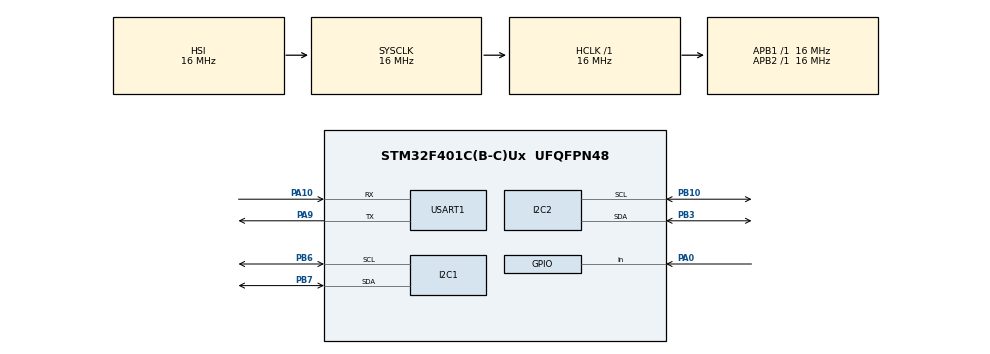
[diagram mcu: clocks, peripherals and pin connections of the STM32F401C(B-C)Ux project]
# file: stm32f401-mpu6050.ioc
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Mcu.Family=STM32F4
Mcu.Name=STM32F401C(B-C)Ux
Mcu.Package=UFQFPN48
NVIC.PriorityGroup=NVIC_PRIORITYGROUP_4
PA0-WKUP.GPIO_PuPd=GPIO_PULLUP
PA0-WKUP.Signal=GPIO_Input
PA10.Mode=Asynchronous
PA10.Signal=USART1_RX
PA9.Mode=Asynchronous
PA9.Signal=USART1_TX
PB10.Mode=I2C
PB10.Signal=I2C2_SCL
PB3.Mode=I2C
PB3.Signal=I2C2_SDA
PB6.Mode=I2C
PB6.Signal=I2C1_SCL
PB7.Mode=I2C
PB7.Signal=I2C1_SDA
ProjectManager.HeapSize=0x200
ProjectManager.StackSize=0x400
ProjectManager.TargetToolchain=CMake
RCC.AHBFreq_Value=16000000
RCC.APB1Freq_Value=16000000
RCC.APB2Freq_Value=16000000
RCC.CortexFreq_Value=16000000
RCC.HSE_VALUE=25000000
RCC.HSI_VALUE=16000000
RCC.LSE_VALUE=32768
RCC.SYSCLKFreq_VALUE=16000000
RCC.VCOOutputFreq_Value=192000000
USART1.VirtualMode=VM_ASYNC
board=custom

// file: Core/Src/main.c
/* USER CODE BEGIN Header */
/**
  ******************************************************************************
  * @file           : main.c
  * @brief          : Main program body
  ******************************************************************************
  * @attention
  *
  * Copyright (c) 2026 STMicroelectronics.
  * All rights reserved.
  *
  * This software is licensed under terms that can be found in the LICENSE file
  * in the root directory of this software component.
  * If no LICENSE file comes with this software, it is provided AS-IS.
  *
  ******************************************************************************
  */
/* USER CODE END Header */
#include "main.h"

/* USER CODE BEGIN Includes */
#include "ssd1306/ssd1306.h"
#include "ssd1306/ssd1306_fonts.h"
#include "ssd1306/ssd1306_conf.h"
/* USER CODE END Includes */

/* USER CODE BEGIN PD */
GPIO_PinState Curr_State = GPIO_PIN_RESET;
GPIO_PinState Prev_State = GPIO_PIN_RESET;

void button_debouncing()
{
	Curr_State = HAL_GPIO_ReadPin(GPIOA, GPIO_PIN_0);
	if (Curr_State == GPIO_PIN_RESET && Prev_State == GPIO_PIN_SET)
	{
		HAL_Delay(15);
		Curr_State = HAL_GPIO_ReadPin(GPIOA, GPIO_PIN_0);
	}
	Prev_State = Curr_State;
}
/* USER CODE END PD */

I2C_HandleTypeDef hi2c1;
I2C_HandleTypeDef hi2c2;

UART_HandleTypeDef huart1;

void SystemClock_Config(void);
static void MX_GPIO_Init(void);
static void MX_I2C1_Init(void);
static void MX_I2C2_Init(void);
static void MX_USART1_UART_Init(void);

int main(void)
{

  /* MCU Configuration--------------------------------------------------------*/

  /* Reset of all peripherals, Initializes the Flash interface and the Systick. */
  HAL_Init();

  /* Configure the system clock */
  SystemClock_Config();

  /* Initialize all configured peripherals */
  MX_GPIO_Init();
  MX_I2C1_Init();
  MX_I2C2_Init();
  MX_USART1_UART_Init();
  /* USER CODE BEGIN 2 */
  //Init OLED display
  ssd1306_Init();

  ssd1306_Fill(Black);
  ssd1306_UpdateScreen();
  /* USER CODE END 2 */

  /* Infinite loop */
  while (1)
  {

    /* USER CODE BEGIN 3 */
	button_debouncing();
	if (HAL_GPIO_ReadPin(GPIOA, GPIO_PIN_0)==GPIO_PIN_RESET)
		{
			ssd1306_Fill(Black);
			ssd1306_SetCursor(0, 0);
			ssd1306_WriteString("Hello", Font_7x10, White);
			ssd1306_UpdateScreen();
		}
	button_debouncing();
	if (HAL_GPIO_ReadPin(GPIOA, GPIO_PIN_0)==GPIO_PIN_RESET)
		{
			ssd1306_Fill(Black);
			ssd1306_UpdateScreen();
			ssd1306_SetCursor(0, 0);
			ssd1306_WriteString("ok bye", Font_7x10, White);
			ssd1306_UpdateScreen();
		}
  }
  /* USER CODE END 3 */
}

void SystemClock_Config(void)
{
  RCC_OscInitTypeDef RCC_OscInitStruct = {0};
  RCC_ClkInitTypeDef RCC_ClkInitStruct = {0};

  /** Configure the main internal regulator output voltage
  */
  __HAL_RCC_PWR_CLK_ENABLE();
  __HAL_PWR_VOLTAGESCALING_CONFIG(PWR_REGULATOR_VOLTAGE_SCALE2);

  /** Initializes the RCC Oscillators according to the specified parameters
  * in the RCC_OscInitTypeDef structure.
  */
  RCC_OscInitStruct.OscillatorType = RCC_OSCILLATORTYPE_HSI;
  RCC_OscInitStruct.HSIState = RCC_HSI_ON;
  RCC_OscInitStruct.HSICalibrationValue = RCC_HSICALIBRATION_DEFAULT;
  RCC_OscInitStruct.PLL.PLLState = RCC_PLL_NONE;
  if (HAL_RCC_OscConfig(&RCC_OscInitStruct) != HAL_OK)
  {
    Error_Handler();
  }

  /** Initializes the CPU, AHB and APB buses clocks
  */
  RCC_ClkInitStruct.ClockType = RCC_CLOCKTYPE_HCLK|RCC_CLOCKTYPE_SYSCLK
                              |RCC_CLOCKTYPE_PCLK1|RCC_CLOCKTYPE_PCLK2;
  RCC_ClkInitStruct.SYSCLKSource = RCC_SYSCLKSOURCE_HSI;
  RCC_ClkInitStruct.AHBCLKDivider = RCC_SYSCLK_DIV1;
  RCC_ClkInitStruct.APB1CLKDivider = RCC_HCLK_DIV1;
  RCC_ClkInitStruct.APB2CLKDivider = RCC_HCLK_DIV1;

  if (HAL_RCC_ClockConfig(&RCC_ClkInitStruct, FLASH_LATENCY_0) != HAL_OK)
  {
    Error_Handler();
  }
}

static void MX_I2C1_Init(void)
{

  hi2c1.Instance = I2C1;
  hi2c1.Init.ClockSpeed = 100000;
  hi2c1.Init.DutyCycle = I2C_DUTYCYCLE_2;
  hi2c1.Init.OwnAddress1 = 0;
  hi2c1.Init.AddressingMode = I2C_ADDRESSINGMODE_7BIT;
  hi2c1.Init.DualAddressMode = I2C_DUALADDRESS_DISABLE;
  hi2c1.Init.OwnAddress2 = 0;
  hi2c1.Init.GeneralCallMode = I2C_GENERALCALL_DISABLE;
  hi2c1.Init.NoStretchMode = I2C_NOSTRETCH_DISABLE;
  if (HAL_I2C_Init(&hi2c1) != HAL_OK)
  {
    Error_Handler();
  }

}

static void MX_I2C2_Init(void)
{

  hi2c2.Instance = I2C2;
  hi2c2.Init.ClockSpeed = 100000;
  hi2c2.Init.DutyCycle = I2C_DUTYCYCLE_2;
  hi2c2.Init.OwnAddress1 = 0;
  hi2c2.Init.AddressingMode = I2C_ADDRESSINGMODE_7BIT;
  hi2c2.Init.DualAddressMode = I2C_DUALADDRESS_DISABLE;
  hi2c2.Init.OwnAddress2 = 0;
  hi2c2.Init.GeneralCallMode = I2C_GENERALCALL_DISABLE;
  hi2c2.Init.NoStretchMode = I2C_NOSTRETCH_DISABLE;
  if (HAL_I2C_Init(&hi2c2) != HAL_OK)
  {
    Error_Handler();
  }

}

static void MX_USART1_UART_Init(void)
{

  huart1.Instance = USART1;
  huart1.Init.BaudRate = 115200;
  huart1.Init.WordLength = UART_WORDLENGTH_8B;
  huart1.Init.StopBits = UART_STOPBITS_1;
  huart1.Init.Parity = UART_PARITY_NONE;
  huart1.Init.Mode = UART_MODE_TX_RX;
  huart1.Init.HwFlowCtl = UART_HWCONTROL_NONE;
  huart1.Init.OverSampling = UART_OVERSAMPLING_16;
  if (HAL_UART_Init(&huart1) != HAL_OK)
  {
    Error_Handler();
  }

}

static void MX_GPIO_Init(void)
{
  GPIO_InitTypeDef GPIO_InitStruct = {0};

  /* GPIO Ports Clock Enable */
  __HAL_RCC_GPIOA_CLK_ENABLE();
  __HAL_RCC_GPIOB_CLK_ENABLE();

  /*Configure GPIO pin : PA0 */
  GPIO_InitStruct.Pin = GPIO_PIN_0;
  GPIO_InitStruct.Mode = GPIO_MODE_INPUT;
  GPIO_InitStruct.Pull = GPIO_PULLUP;
  HAL_GPIO_Init(GPIOA, &GPIO_InitStruct);

}

void Error_Handler(void)
{
  __disable_irq();
  while (1)
  {
  }
}
